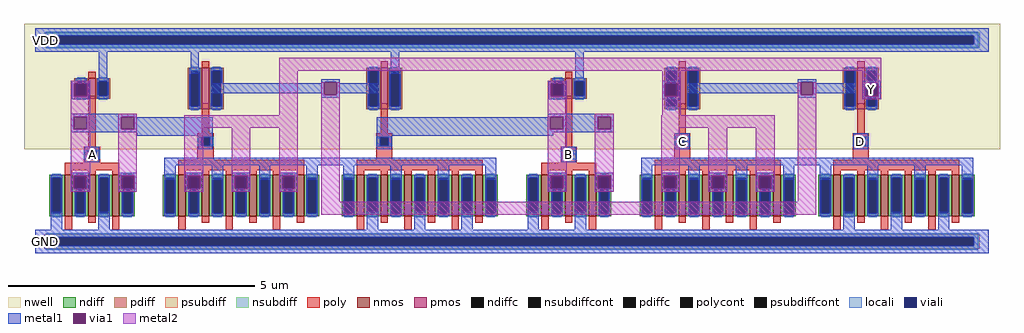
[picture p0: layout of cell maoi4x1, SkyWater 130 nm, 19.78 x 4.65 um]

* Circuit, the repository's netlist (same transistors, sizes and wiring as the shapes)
** sch_path: /foss/designs/maoi4x1.sch
.subckt maoi4x1 A VDD GND B Y D C
*.PININFO A:I VDD:B GND:B B:I Y:O D:I C:I
XM9 Anot A GND GND sky130_fd_pr__nfet_01v8 L=0.15 W=2.52 nf=3
XM2 Y Anot net1 GND sky130_fd_pr__nfet_01v8 L=0.15 W=5.04 nf=6
XM5 net3 Anot VDD VDD sky130_fd_pr__pfet_01v8 L=0.15 W=0.84 nf=1
XM10 Anot A VDD VDD sky130_fd_pr__pfet_01v8 L=0.15 W=0.42 nf=1
XM7 net3 Bnot VDD VDD sky130_fd_pr__pfet_01v8 L=0.15 W=0.84 nf=1
XM8 Y D net3 VDD sky130_fd_pr__pfet_01v8 L=0.15 W=0.84 nf=1
XM6 Y C net3 VDD sky130_fd_pr__pfet_01v8 L=0.15 W=0.84 nf=1
XM4 Y C net2 GND sky130_fd_pr__nfet_01v8 L=0.15 W=5.04 nf=6
XM3 net2 D GND GND sky130_fd_pr__nfet_01v8 L=0.15 W=5.04 nf=6
XM1 net1 Bnot GND GND sky130_fd_pr__nfet_01v8 L=0.15 W=5.04 nf=6
XM11 Bnot B GND GND sky130_fd_pr__nfet_01v8 L=0.15 W=2.52 nf=3
XM12 Bnot B VDD VDD sky130_fd_pr__pfet_01v8 L=0.15 W=0.42 nf=1
.ends

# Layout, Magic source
magic
tech sky130A
magscale 1 2
<< nwell >>
rect -46 374 3910 882
<< psubdiff >>
rect 36 17 3828 29
rect 36 -17 60 17
rect 3804 -17 3828 17
rect 36 -29 3828 -17
<< nsubdiff >>
rect 36 833 3828 845
rect 36 799 60 833
rect 3804 799 3828 833
rect 36 787 3828 799
<< psubdiffcont >>
rect 60 -17 3804 17
<< nsubdiffcont >>
rect 60 799 3804 833
<< poly >>
rect 215 384 245 590
rect 675 438 705 560
rect 1399 438 1429 560
rect 657 422 723 438
rect 657 388 673 422
rect 707 388 723 422
rect 197 368 263 384
rect 197 334 213 368
rect 247 334 263 368
rect 197 318 263 334
rect 657 330 723 388
rect 1381 422 1447 438
rect 1381 388 1397 422
rect 1431 388 1447 422
rect 1381 330 1447 388
rect 2147 384 2177 590
rect 2607 438 2637 560
rect 3331 438 3361 560
rect 2589 422 2655 438
rect 2589 388 2605 422
rect 2639 388 2655 422
rect 2129 368 2195 384
rect 2129 334 2145 368
rect 2179 334 2195 368
rect 119 288 341 318
rect 579 288 1089 330
rect 1303 288 1813 330
rect 2129 318 2195 334
rect 2589 330 2655 388
rect 3313 422 3379 438
rect 3313 388 3329 422
rect 3363 388 3379 422
rect 3313 330 3379 388
rect 2051 288 2273 318
rect 2511 288 3021 330
rect 3235 288 3745 330
<< polycont >>
rect 673 388 707 422
rect 213 334 247 368
rect 1397 388 1431 422
rect 2605 388 2639 422
rect 2145 334 2179 368
rect 3329 388 3363 422
<< locali >>
rect 42 833 3822 849
rect 42 799 60 833
rect 3804 799 3822 833
rect 42 783 3822 799
rect 657 422 723 424
rect 657 388 673 422
rect 707 388 723 422
rect 657 386 723 388
rect 1381 422 1447 424
rect 1381 388 1397 422
rect 1431 388 1447 422
rect 1381 386 1447 388
rect 2589 422 2655 424
rect 2589 388 2605 422
rect 2639 388 2655 422
rect 2589 386 2655 388
rect 3313 422 3379 424
rect 3313 388 3329 422
rect 3363 388 3379 422
rect 3313 386 3379 388
rect 197 368 263 370
rect 197 334 213 368
rect 247 334 263 368
rect 197 332 263 334
rect 2129 368 2195 370
rect 2129 334 2145 368
rect 2179 334 2195 368
rect 2129 332 2195 334
rect 42 17 3822 33
rect 42 -17 60 17
rect 3804 -17 3822 17
rect 42 -33 3822 -17
<< viali >>
rect 60 799 3804 833
rect 673 388 707 422
rect 1397 388 1431 422
rect 2605 388 2639 422
rect 3329 388 3363 422
rect 213 334 247 368
rect 2145 334 2179 368
rect 60 -17 3804 17
<< metal1 >>
rect 0 833 3864 864
rect 0 799 60 833
rect 3804 799 3864 833
rect 0 768 3864 799
rect 148 640 220 652
rect 257 650 291 768
rect 629 680 663 768
rect 1441 680 1475 768
rect 1158 646 1234 658
rect 1158 640 1170 646
rect 148 588 158 640
rect 210 588 220 640
rect 711 600 1170 640
rect 148 576 220 588
rect 1158 594 1170 600
rect 1222 640 1234 646
rect 2080 640 2152 652
rect 2189 650 2223 768
rect 1222 600 1393 640
rect 1222 594 1234 600
rect 1158 582 1234 594
rect 2080 588 2090 640
rect 2142 588 2152 640
rect 2080 576 2152 588
rect 2542 640 2614 652
rect 3090 646 3166 658
rect 3090 640 3102 646
rect 2542 588 2552 640
rect 2604 588 2614 640
rect 2643 600 3102 640
rect 2542 576 2614 588
rect 3090 594 3102 600
rect 3154 640 3166 646
rect 3354 640 3426 652
rect 3154 600 3325 640
rect 3154 594 3166 600
rect 3090 582 3166 594
rect 3354 588 3364 640
rect 3416 588 3426 640
rect 3354 576 3426 588
rect 144 506 412 518
rect 144 454 156 506
rect 208 454 348 506
rect 400 504 412 506
rect 2076 506 2344 518
rect 2076 504 2088 506
rect 400 454 720 504
rect 144 442 720 454
rect 412 428 720 442
rect 660 422 720 428
rect 660 388 673 422
rect 707 388 720 422
rect 200 368 260 384
rect 660 374 720 388
rect 1384 454 2088 504
rect 2140 454 2280 506
rect 2332 454 2344 506
rect 1384 442 2344 454
rect 1384 428 2100 442
rect 1384 422 1444 428
rect 1384 388 1397 422
rect 1431 388 1444 422
rect 1384 374 1444 388
rect 2592 422 2652 438
rect 2592 388 2605 422
rect 2639 388 2652 422
rect 200 334 213 368
rect 247 334 260 368
rect 2132 368 2192 384
rect 2592 374 2652 388
rect 3316 422 3376 438
rect 3316 388 3329 422
rect 3363 388 3376 422
rect 3316 374 3376 388
rect 200 320 260 334
rect 523 308 1869 338
rect 2132 334 2145 368
rect 2179 334 2192 368
rect 2132 320 2192 334
rect 144 266 220 278
rect 144 214 156 266
rect 208 214 220 266
rect 144 202 220 214
rect 336 266 412 278
rect 336 214 348 266
rect 400 214 412 266
rect 523 250 569 308
rect 604 266 680 278
rect 336 202 412 214
rect 604 214 616 266
rect 668 214 680 266
rect 715 250 761 308
rect 796 266 872 278
rect 604 202 680 214
rect 796 214 808 266
rect 860 214 872 266
rect 907 250 953 308
rect 988 266 1064 278
rect 796 202 872 214
rect 988 214 1000 266
rect 1052 214 1064 266
rect 1099 250 1145 308
rect 1247 250 1293 308
rect 1439 250 1485 308
rect 1631 250 1677 308
rect 1823 250 1869 308
rect 2455 308 3801 338
rect 2076 266 2152 278
rect 988 202 1064 214
rect 2076 214 2088 266
rect 2140 214 2152 266
rect 2076 202 2152 214
rect 2268 266 2344 278
rect 2268 214 2280 266
rect 2332 214 2344 266
rect 2455 250 2501 308
rect 2536 266 2612 278
rect 2268 202 2344 214
rect 2536 214 2548 266
rect 2600 214 2612 266
rect 2647 250 2693 308
rect 2728 266 2804 278
rect 2536 202 2612 214
rect 2728 214 2740 266
rect 2792 214 2804 266
rect 2839 250 2885 308
rect 2920 266 2996 278
rect 2728 202 2804 214
rect 2920 214 2932 266
rect 2984 214 2996 266
rect 3031 250 3077 308
rect 3179 250 3225 308
rect 3371 250 3417 308
rect 3563 250 3609 308
rect 3755 250 3801 308
rect 2920 202 2996 214
rect 63 48 109 120
rect 255 48 301 120
rect 1343 48 1389 120
rect 1535 48 1581 120
rect 1727 48 1773 120
rect 1995 48 2041 120
rect 2187 48 2233 120
rect 3275 48 3321 120
rect 3467 48 3513 120
rect 3659 48 3705 120
rect 0 17 3864 48
rect 0 -17 60 17
rect 3804 -17 3864 17
rect 0 -48 3864 -17
<< via1 >>
rect 158 588 210 640
rect 1170 594 1222 646
rect 2090 588 2142 640
rect 2552 588 2604 640
rect 3102 594 3154 646
rect 3364 588 3416 640
rect 156 454 208 506
rect 348 454 400 506
rect 2088 454 2140 506
rect 2280 454 2332 506
rect 156 214 208 266
rect 348 214 400 266
rect 616 214 668 266
rect 808 214 860 266
rect 1000 214 1052 266
rect 2088 214 2140 266
rect 2280 214 2332 266
rect 2548 214 2600 266
rect 2740 214 2792 266
rect 2932 214 2984 266
<< metal2 >>
rect 988 692 3428 744
rect 144 640 222 652
rect 144 588 158 640
rect 210 588 222 640
rect 144 506 222 588
rect 144 454 156 506
rect 208 454 222 506
rect 144 266 222 454
rect 144 214 156 266
rect 208 214 222 266
rect 144 202 222 214
rect 336 506 412 518
rect 988 512 1064 692
rect 336 454 348 506
rect 400 454 412 506
rect 336 266 412 454
rect 336 214 348 266
rect 400 214 412 266
rect 336 202 412 214
rect 604 460 1064 512
rect 604 266 680 460
rect 604 214 616 266
rect 668 214 680 266
rect 604 202 680 214
rect 796 266 872 460
rect 796 214 808 266
rect 860 214 872 266
rect 796 202 872 214
rect 988 266 1064 460
rect 988 214 1000 266
rect 1052 214 1064 266
rect 988 202 1064 214
rect 1158 594 1170 646
rect 1222 594 1234 646
rect 1158 160 1234 594
rect 2076 640 2154 652
rect 2076 588 2090 640
rect 2142 588 2154 640
rect 2076 506 2154 588
rect 2540 640 2616 692
rect 2540 588 2552 640
rect 2604 588 2616 640
rect 2076 454 2088 506
rect 2140 454 2154 506
rect 2076 266 2154 454
rect 2076 214 2088 266
rect 2140 214 2154 266
rect 2076 202 2154 214
rect 2268 506 2344 518
rect 2540 512 2616 588
rect 3090 594 3102 646
rect 3154 594 3166 646
rect 2268 454 2280 506
rect 2332 454 2344 506
rect 2268 266 2344 454
rect 2268 214 2280 266
rect 2332 214 2344 266
rect 2268 202 2344 214
rect 2536 460 2996 512
rect 2536 266 2612 460
rect 2536 214 2548 266
rect 2600 214 2612 266
rect 2536 202 2612 214
rect 2728 266 2804 460
rect 2728 214 2740 266
rect 2792 214 2804 266
rect 2728 202 2804 214
rect 2920 266 2996 460
rect 2920 214 2932 266
rect 2984 214 2996 266
rect 2920 202 2996 214
rect 3090 160 3166 594
rect 3352 640 3428 692
rect 3352 588 3364 640
rect 3416 588 3428 640
rect 3352 576 3428 588
rect 1158 108 3166 160
use sky130_fd_pr__nfet_01v8_6WXBLA  xn1
transform 1 0 1558 0 1 186
box -317 -139 317 139
use sky130_fd_pr__nfet_01v8_6WXBLA  xn2
transform 1 0 834 0 1 186
box -317 -139 317 139
use sky130_fd_pr__nfet_01v8_6WXBLA  xn3
transform 1 0 3490 0 1 186
box -317 -139 317 139
use sky130_fd_pr__nfet_01v8_6WXBLA  xn4
transform 1 0 2766 0 1 186
box -317 -139 317 139
use sky130_fd_pr__nfet_01v8_RPKUUV  xnia
transform 1 0 230 0 1 186
box -173 -139 173 139
use sky130_fd_pr__nfet_01v8_RPKUUV  xnib
transform 1 0 2162 0 1 186
box -173 -139 173 139
use sky130_fd_pr__pfet_01v8_W5J8BK  xp5
transform 1 0 690 0 1 620
box -109 -146 109 146
use sky130_fd_pr__pfet_01v8_W5J8BK  xp6
transform 1 0 2622 0 1 620
box -109 -146 109 146
use sky130_fd_pr__pfet_01v8_W5J8BK  xp7
transform 1 0 1414 0 1 620
box -109 -146 109 146
use sky130_fd_pr__pfet_01v8_W5J8BK  xp8
transform 1 0 3346 0 1 620
box -109 -146 109 146
use sky130_fd_pr__pfet_01v8_YNU6YZ  xpia
transform 1 0 230 0 1 620
box -109 -104 109 104
use sky130_fd_pr__pfet_01v8_YNU6YZ  xpib
transform 1 0 2162 0 1 620
box -109 -104 109 104
<< labels >>
rlabel metal1 200 320 260 384 0 A
port 1 nsew
rlabel metal1 2132 320 2192 384 0 B
port 2 nsew
rlabel metal1 2592 374 2652 438 0 C
port 3 nsew
rlabel metal1 3316 374 3376 438 0 D
port 4 nsew
rlabel metal1 3354 576 3426 652 0 Y
port 5 nsew
rlabel metal1 10 780 70 852 0 VDD
port 6 nsew
rlabel metal1 10 -36 70 36 0 GND
port 7 nsew
<< properties >>
string FIXED_BBOX 0 0 3864 816
<< end >>

# cell sky130_fd_pr__nfet_01v8_6WXBLA: kit device sky130_fd_pr__nfet_01v8, w 0.84 l 0.15 m 1 nf 6 diffcov 100 polycov 100 guard 0 glc 1 grc 1 gtc 1 gbc 1 tbcov 100 rlcov 100 topc 0 botc 0 poverlap 0 doverlap 1 lmin 0.15 wmin 0.42 class mosfet compatible {sky130_fd_pr__nfet_01v8 sky130_fd_pr__nfet_01v8_lvt sky130_fd_bs_flash__special_sonosfet_star sky130_fd_pr__nfet_g5v0d10v5 sky130_fd_pr__nfet_05v0_nvt sky130_fd_pr__nfet_03v3_nvt} full_metal 1 conn_gates 0 viasrc 100 viadrn 100 viagate 100 viagb 0 viagr 0 viagl 0 viagt 0 doports 1

# cell sky130_fd_pr__nfet_01v8_RPKUUV: kit device sky130_fd_pr__nfet_01v8, w 0.84 l 0.15 m 1 nf 3 diffcov 100 polycov 100 guard 0 glc 1 grc 1 gtc 1 gbc 1 tbcov 100 rlcov 100 topc 0 botc 0 poverlap 0 doverlap 1 lmin 0.15 wmin 0.42 class mosfet compatible {sky130_fd_pr__nfet_01v8 sky130_fd_pr__nfet_01v8_lvt sky130_fd_bs_flash__special_sonosfet_star sky130_fd_pr__nfet_g5v0d10v5 sky130_fd_pr__nfet_05v0_nvt sky130_fd_pr__nfet_03v3_nvt} full_metal 1 conn_gates 0 viasrc 100 viadrn 100 viagate 100 viagb 0 viagr 0 viagl 0 viagt 0 doports 1

# cell sky130_fd_pr__pfet_01v8_W5J8BK: kit device sky130_fd_pr__pfet_01v8, w 0.84 l 0.15 m 1 nf 1 diffcov 100 polycov 100 guard 0 glc 1 grc 1 gtc 1 gbc 1 tbcov 100 rlcov 100 topc 0 botc 0 poverlap 0 doverlap 1 lmin 0.15 wmin 0.42 class mosfet compatible {sky130_fd_pr__pfet_01v8 sky130_fd_pr__pfet_01v8_lvt sky130_fd_pr__pfet_01v8_hvt sky130_fd_pr__pfet_g5v0d10v5} full_metal 1 conn_gates 0 viasrc 100 viadrn 100 viagate 100 viagb 0 viagr 0 viagl 0 viagt 0 doports 1

# cell sky130_fd_pr__pfet_01v8_YNU6YZ: kit device sky130_fd_pr__pfet_01v8, w 0.42 l 0.15 m 1 nf 1 diffcov 100 polycov 100 guard 0 glc 1 grc 1 gtc 1 gbc 1 tbcov 100 rlcov 100 topc 0 botc 0 poverlap 0 doverlap 1 lmin 0.15 wmin 0.42 class mosfet compatible {sky130_fd_pr__pfet_01v8 sky130_fd_pr__pfet_01v8_lvt sky130_fd_pr__pfet_01v8_hvt sky130_fd_pr__pfet_g5v0d10v5} full_metal 1 conn_gates 0 viasrc 100 viadrn 100 viagate 100 viagb 0 viagr 0 viagl 0 viagt 0 doports 1
